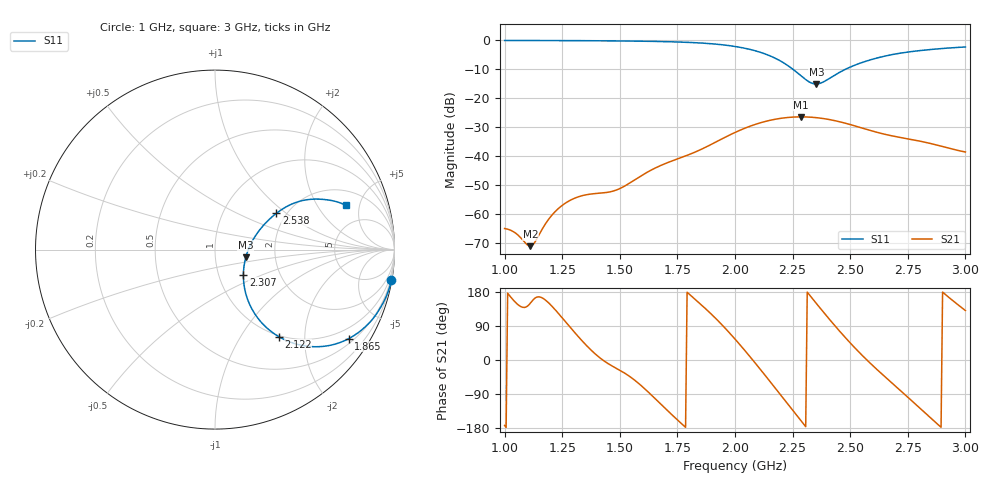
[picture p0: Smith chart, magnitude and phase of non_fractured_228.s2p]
! TOUCHSTONE file generated by CST MICROWAVE STUDIO
! Date and time: Sat Mar  8 13:55:38 2025
! Project name: non_fractured.cst
! Parameters = {B=2.5; D=160; F=25; Feed=2.85625; L=100; M=20; R=0.384908; S=1; Theta=270; length=57.125; wave=114.25}
! Header version: 2024
! Port assignment regex: !\s*Touchstone port\s*([0-9]+)\s*=\s*(CST MWS port|CST DES external port|CST DES block port)\s*(.+)\s* \(\"(.*)\"\)(\s*mode\s*([0-9]+))?.*
! Touchstone port assignment:
! Touchstone port 1 = CST MWS port 1 ("")
! Touchstone port 2 = CST MWS port 2 ("")
# GHz S DB R 50
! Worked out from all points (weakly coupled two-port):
!   304 points, 1 GHz to 3 GHz, reference 50 ohm
!   highest |S21| = -26.38 dB at 2.287 GHz (marker M1); lowest = -71.0 dB at 1.112 GHz (marker M2)
!   lowest |S11| = -15.0 dB at 2.353 GHz (marker M3), VSWR 1.43, Z = 70.4 - j6.13 ohm
!   |S11| at or under -10 dB: 2.252 GHz to 2.478 GHz (226.3 MHz wide, 9.57 % of centre)
!   S12 and S22 are empty: the file has one direction only
!   S11 on the Smith chart (normalised r, x): 1 GHz: 0, -12; 1.865 GHz: 0.64, -3.19; 2.122 GHz: 0.98, -1.49; 2.307 GHz: 1.31, -0.38; 2.538 GHz: 1.78, +0.86; 3 GHz: 3.05, +3.68
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1  -0.02 -9.8  -64.90 -172.7  -200.00 0.0  -200.00 0.0
1.0462  -0.03 -10.4  -66.41 152.6  -200.00 0.0  -200.00 0.0
1.11221  -0.03 -11.3  -70.99 150.3  -200.00 0.0  -200.00 0.0
1.12541  -0.03 -11.5  -70.28 159.9  -200.00 0.0  -200.00 0.0
1.17822  -0.05 -12.4  -63.17 157.7  -200.00 0.0  -200.00 0.0
1.22442  -0.06 -13.1  -58.67 129.3  -200.00 0.0  -200.00 0.0
1.27723  -0.07 -14.1  -55.49 91.7  -200.00 0.0  -200.00 0.0
1.33663  -0.09 -15.2  -53.57 50.4  -200.00 0.0  -200.00 0.0
1.48845  -0.18 -18.6  -51.52 -23.2  -200.00 0.0  -200.00 0.0
1.66667  -0.37 -24.1  -43.55 -109.7  -200.00 0.0  -200.00 0.0
1.86469  -0.96 -33.7  -37.16 139.6  -200.00 0.0  -200.00 0.0
2.0033  -2.14 -43.8  -31.65 53.0  -200.00 0.0  -200.00 0.0
2.12211  -4.43 -53.8  -28.16 -33.9  -200.00 0.0  -200.00 0.0
2.20792  -7.59 -58.2  -26.78 -99.8  -200.00 0.0  -200.00 0.0
2.28713  -12.26 -49.0  -26.38 -160.8  -200.00 0.0  -200.00 0.0
2.30693  -13.52 -41.4  -26.40 -175.9  -200.00 0.0  -200.00 0.0
2.33993  -14.93 -22.6  -26.56 159.0  -200.00 0.0  -200.00 0.0
2.35314  -15.05 -13.8  -26.66 149.1  -200.00 0.0  -200.00 0.0
2.43894  -11.69 22.4  -27.79 86.7  -200.00 0.0  -200.00 0.0
2.53795  -8.01 30.6  -29.91 20.9  -200.00 0.0  -200.00 0.0
2.66997  -5.09 29.3  -32.74 -54.5  -200.00 0.0  -200.00 0.0
3  -2.27 18.6  -38.50 130.5  -200.00 0.0  -200.00 0.0
